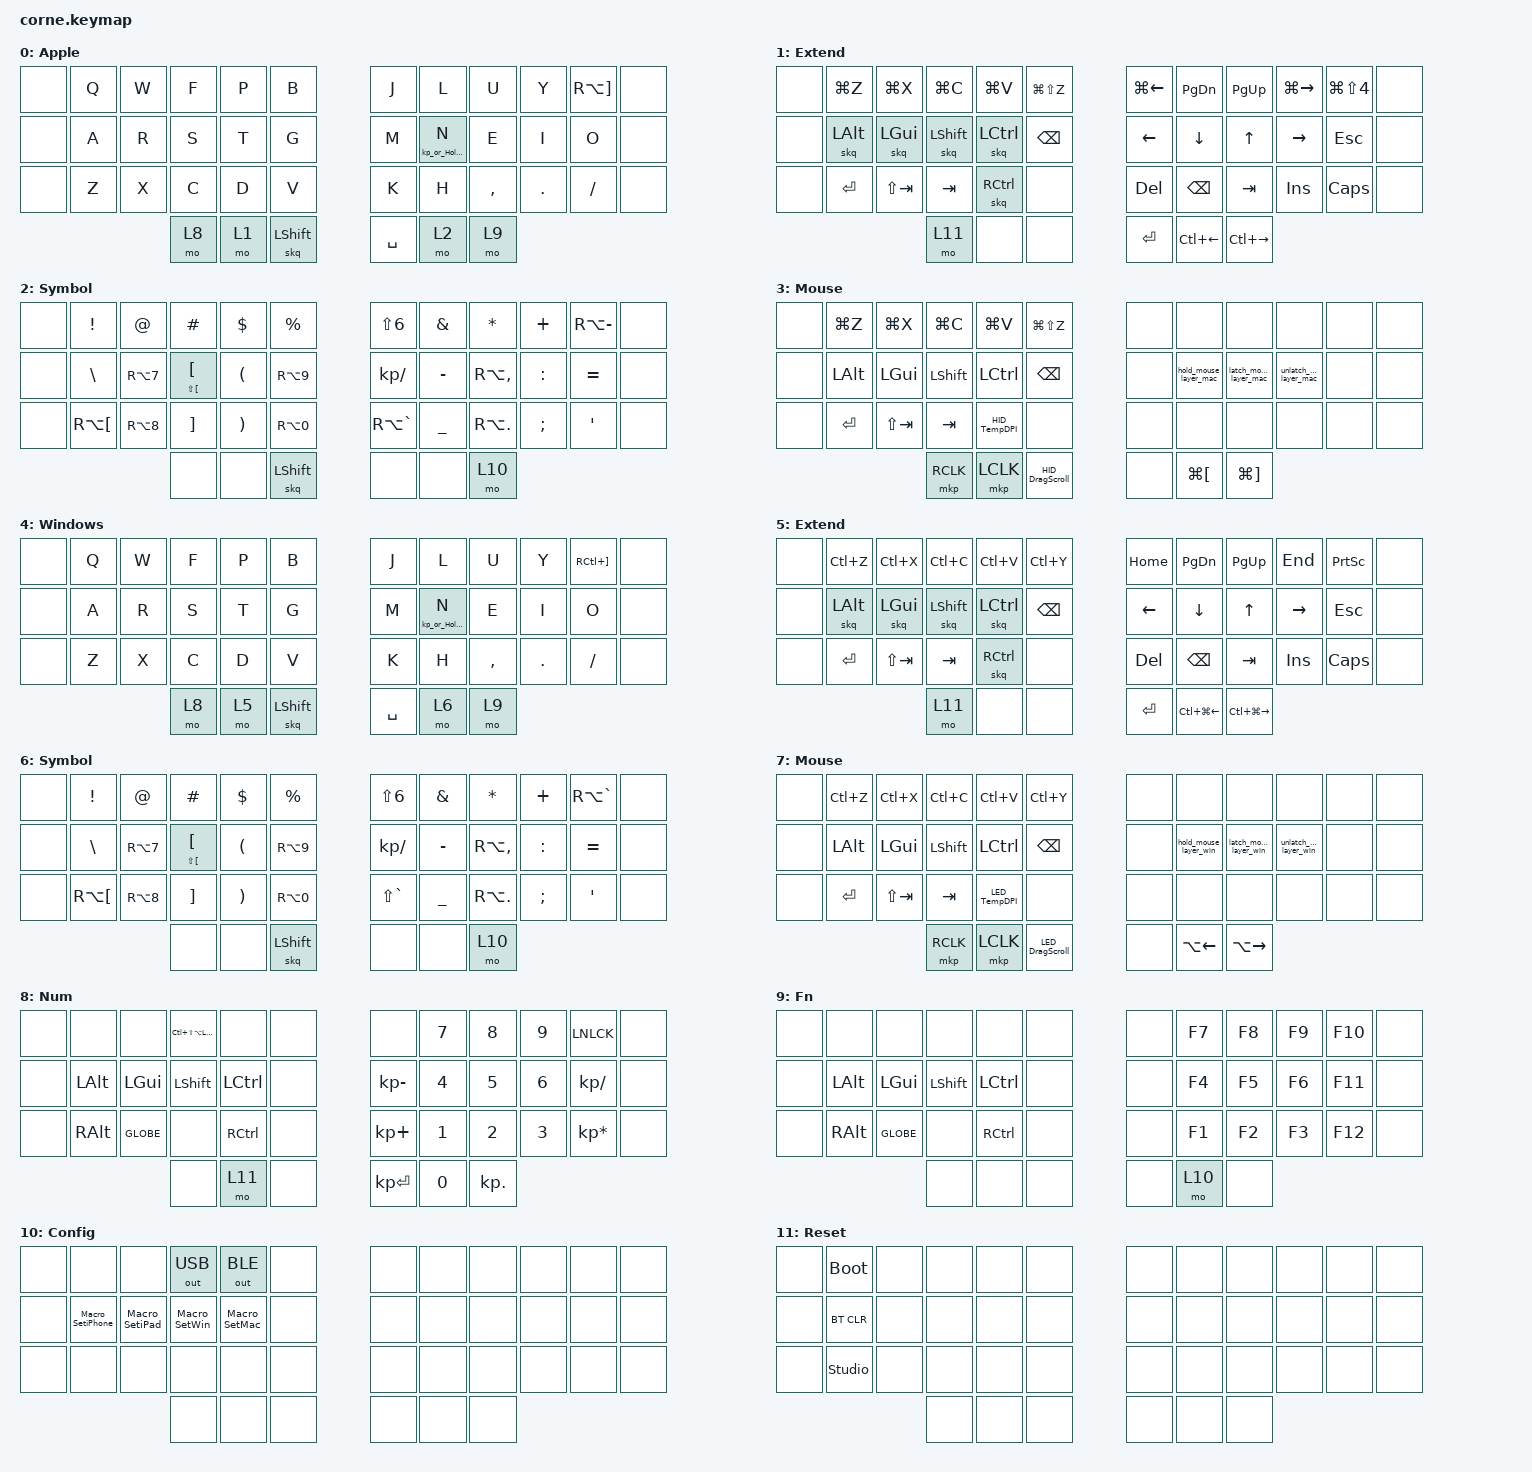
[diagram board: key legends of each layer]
#define ZMK_POINTING_DEFAULT_MOVE_VAL 1500
#define ZMK_POINTING_DEFAULT_SCRL_VAL 25

#include <behaviors.dtsi>
#include <dt-bindings/zmk/bt.h>
#include <dt-bindings/zmk/keys.h>
#include <dt-bindings/zmk/outputs.h>
#include <dt-bindings/zmk/pointing.h>

/ {
    behaviors {
        td: MyTapDance {
            compatible = "zmk,behavior-tap-dance";
            #binding-cells = <0>;
            tapping-term-ms = <200>;
            bindings = <&kp>, <&kp>;
        };

        th: MyTapHold {
            compatible = "zmk,behavior-hold-tap";
            #binding-cells = <2>;
            tapping-term-ms = <200>;
            flavor = "tap-preferred";
            bindings = <&kp>, <&kp>;
        };

        skq: MyStickyKeyQuickRelease {
            compatible = "zmk,behavior-sticky-key";
            #binding-cells = <1>;
            bindings = <&kp>;
            release-after-ms = <500>;
            quick-release;
            ignore-modifiers;
        };

        hold_mouse_layer_mac: HoldMouseLayerMac {
            compatible = "zmk,behavior-hold-mouse-layer";
            #binding-cells = <0>;
            mouse-layer = <3>;
        };

        hold_mouse_layer_win: HoldMouseLayerWin {
            compatible = "zmk,behavior-hold-mouse-layer";
            #binding-cells = <0>;
            mouse-layer = <7>;
        };

        latch_mouse_layer_mac: LatchMouseLayerMac {
            compatible = "zmk,behavior-latch-mouse-layer";
            #binding-cells = <0>;
            mouse-layer = <3>;
        };

        latch_mouse_layer_win: LatchMouseLayerWin {
            compatible = "zmk,behavior-latch-mouse-layer";
            #binding-cells = <0>;
            mouse-layer = <7>;
        };

        unlatch_mouse_layer_mac: UnlatchMouseLayerMac {
            compatible = "zmk,behavior-unlatch-mouse-layer";
            #binding-cells = <0>;
            mouse-layer = <3>;
            base-layer = <0>;
        };

        unlatch_mouse_layer_win: UnlatchMouseLayerWin {
            compatible = "zmk,behavior-unlatch-mouse-layer";
            #binding-cells = <0>;
            mouse-layer = <7>;
            base-layer = <4>;
        };

        kp_or_LatchMouseLayer_mac_inner: KpOrLatchMouseLayerMacInner {
            compatible = "zmk,behavior-hold-tap";
            #binding-cells = <2>;
            tapping-term-ms = <200>;
            flavor = "tap-preferred";
            bindings = <&latch_mouse_layer_mac>, <&kp>;
        };

        kp_or_LatchMouseLayer_win_inner: KpOrLatchMouseLayerWinInner {
            compatible = "zmk,behavior-hold-tap";
            #binding-cells = <2>;
            tapping-term-ms = <200>;
            flavor = "tap-preferred";
            bindings = <&latch_mouse_layer_win>, <&kp>;
        };

        kp_or_HoldMouseLayer_mac_inner: KpOrHoldMouseLayerMacInner {
            compatible = "zmk,behavior-hold-tap";
            #binding-cells = <2>;
            tapping-term-ms = <200>;
            flavor = "tap-preferred";
            bindings = <&hold_mouse_layer_mac>, <&kp>;
        };

        kp_or_HoldMouseLayer_win_inner: KpOrHoldMouseLayerWinInner {
            compatible = "zmk,behavior-hold-tap";
            #binding-cells = <2>;
            tapping-term-ms = <200>;
            flavor = "tap-preferred";
            bindings = <&hold_mouse_layer_win>, <&kp>;
        };

        kp_or_LatchMouseLayer_mac: KpOrLatchMouseLayerMac {
            compatible = "zmk,behavior-kp-or-latch-mouse-layer";
            #binding-cells = <1>;
            hold-tap-behavior = <&kp_or_LatchMouseLayer_mac_inner>;
        };

        kp_or_LatchMouseLayer_win: KpOrLatchMouseLayerWin {
            compatible = "zmk,behavior-kp-or-latch-mouse-layer";
            #binding-cells = <1>;
            hold-tap-behavior = <&kp_or_LatchMouseLayer_win_inner>;
        };

        kp_or_HoldMouseLayer_mac: KpOrHoldMouseLayerMac {
            compatible = "zmk,behavior-kp-or-hold-mouse-layer";
            #binding-cells = <1>;
            hold-tap-behavior = <&kp_or_HoldMouseLayer_mac_inner>;
        };

        kp_or_HoldMouseLayer_win: KpOrHoldMouseLayerWin {
            compatible = "zmk,behavior-kp-or-hold-mouse-layer";
            #binding-cells = <1>;
            hold-tap-behavior = <&kp_or_HoldMouseLayer_win_inner>;
        };

        auto_mouse_layer_config {
            compatible = "zmk,behavior-auto-mouse-layer";
            mac-base-layer = <0>;
            mac-mouse-layer = <3>;
            windows-base-layer = <4>;
            windows-mouse-layer = <7>;
        };

        HID_DragScroll: HID_DragScroll {
            compatible = "zmk,behavior-raw-drag-scroll";
            #binding-cells = <0>;
        };

        HID_TempDPI: HID_TempDPI {
            compatible = "zmk,behavior-raw-temporary-dpi";
            #binding-cells = <0>;
        };

        LED_TempDPI: LED_TempDPI {
            compatible = "zmk,behavior-raw-temporary-dpi";
            #binding-cells = <0>;
            windows-host;
        };
    };

    combos {
        compatible = "zmk,combos";

        Combo_Macro_M10 {
            bindings = <&Macro_M10>;
            key-positions = <1 25>;
            layers = <2 6>;
        };

        Combo_Macro_M11 {
            bindings = <&Macro_M11>;
            key-positions = <26 2>;
            layers = <2 6>;
        };

        Combo_Macro_M12 {
            bindings = <&Macro_M12>;
            key-positions = <33 9>;
            layers = <1 5>;
        };

        Combo_Macro_M13 {
            bindings = <&Macro_M13>;
            key-positions = <10 34>;
            layers = <1 5>;
        };

        Combo_BrightnessUp_Mac {
            bindings = <&kp LC(LS(LA(LG(F10))))>;
            key-positions = <6 18>;
            layers = <0>;
        };

        Combo_BrightnessDown_Mac {
            bindings = <&kp LC(LS(LA(LG(F11))))>;
            key-positions = <30 18>;
            layers = <0>;
        };

        Combo_BrightnessUp_Win {
            bindings = <&kp C_BRI_UP>;
            key-positions = <6 18>;
            layers = <4>;
        };

        Combo_BrightnessDown_Win {
            bindings = <&kp C_BRI_DN>;
            key-positions = <30 18>;
            layers = <4>;
        };

        Combo_VolumeUp {
            bindings = <&kp C_VOLUME_UP>;
            key-positions = <5 17>;
            layers = <0 4>;
        };

        Combo_VolumeDown {
            bindings = <&kp C_VOL_DN>;
            key-positions = <29 17>;
            layers = <0 4>;
        };
    };

    macros {
        // ------------------------------------------------------------- 
        // Macro for IDE (SSMS & VisualCoed)
        // ------------------------------------------------------------- 

        Macro_M00_Outline_CollapseAll: Macro_M00_Outline_CollapseAll {
            compatible = "zmk,behavior-macro";
            #binding-cells = <0>;
            bindings =
                <&macro_press>,
                <&kp LCTRL>,
                <&macro_tap>,
                <&kp M &kp A>,
                <&macro_release>,
                <&kp LCTRL>;
        };

        Macro_M01_Outline_ToggleCurrent: Macro_M01_Outline_ToggleCurrent {
            compatible = "zmk,behavior-macro";
            #binding-cells = <0>;
            bindings =
                <&macro_press>,
                <&kp LCTRL>,
                <&macro_tap>,
                <&kp M &kp M>,
                <&macro_release>,
                <&kp LCTRL>;
        };

        Macro_M02_Outline_ExpandAll: Macro_M02_Outline_ExpandAll {
            compatible = "zmk,behavior-macro";
            #binding-cells = <0>;
            bindings =
                <&macro_press>,
                <&kp LCTRL>,
                <&macro_tap>,
                <&kp M &kp L>,
                <&macro_release>,
                <&kp LCTRL>;
        };

        Macro_M03_Bookmark_Previous: Macro_M03_Bookmark_Previous {
            compatible = "zmk,behavior-macro";
            #binding-cells = <0>;
            bindings =
                <&macro_press>,
                <&kp LCTRL>,
                <&macro_tap>,
                <&kp K &kp P>,
                <&macro_release>,
                <&kp LCTRL>;
        };

        Macro_M04_Bookmark_Toggle: Macro_M04_Bookmark_Toggle {
            compatible = "zmk,behavior-macro";
            #binding-cells = <0>;
            bindings =
                <&macro_press>,
                <&kp LCTRL>,
                <&macro_tap>,
                <&kp K &kp K>,
                <&macro_release>,
                <&kp LCTRL>;
        };

        Macro_M05_Bookmark_ClearAll: Macro_M05_Bookmark_ClearAll {
            compatible = "zmk,behavior-macro";
            #binding-cells = <0>;
            bindings =
                <&macro_press>,
                <&kp LCTRL>,
                <&macro_tap>,
                <&kp K &kp L>,
                <&macro_release>,
                <&kp LCTRL>;
        };

        Macro_M06_Bookmark_Next: Macro_M06_Bookmark_Next {
            compatible = "zmk,behavior-macro";
            #binding-cells = <0>;
            bindings =
                <&macro_press>,
                <&kp LCTRL>,
                <&macro_tap>,
                <&kp K &kp N>,
                <&macro_release>,
                <&kp LCTRL>;
        };

        Macro_M07_Comment: Macro_M07_Comment {
            compatible = "zmk,behavior-macro";
            #binding-cells = <0>;
            bindings =
                <&macro_press>,
                <&kp LCTRL>,
                <&macro_tap>,
                <&kp K &kp C>,
                <&macro_release>,
                <&kp LCTRL>;
        };

        Macro_M08_UnComment: Macro_M08_UnComment {
            compatible = "zmk,behavior-macro";
            #binding-cells = <0>;
            bindings =
                <&macro_press>,
                <&kp LCTRL>,
                <&macro_tap>,
                <&kp K &kp U>,
                <&macro_release>,
                <&kp LCTRL>;
        };

        Macro_SetMac: Macro_SetMac {
            compatible = "zmk,behavior-macro";
            #binding-cells = <0>;
            wait-ms = <50>;
            bindings = <&bt BT_SEL 0 &to 0>;
        };

        Macro_SetWin: Macro_SetWin {
            compatible = "zmk,behavior-macro";
            #binding-cells = <0>;
            wait-ms = <50>;
            bindings = <&bt BT_SEL 1 &to 4>;
        };

        Macro_SetiPad: Macro_SetiPad {
            compatible = "zmk,behavior-macro";
            #binding-cells = <0>;
            wait-ms = <50>;
            bindings = <&bt BT_SEL 2 &to 0>;
        };

        Macro_SetiPhone: Macro_SetiPhone {
            compatible = "zmk,behavior-macro";
            #binding-cells = <0>;
            wait-ms = <50>;
            bindings = <&bt BT_SEL 3 &to 0>;
        };

        // ------------------------------------------------------------- 
        // Password for local stuff
        // ------------------------------------------------------------- 

        Macro_M10: Macro_M10 {
            compatible = "zmk,behavior-macro";
            #binding-cells = <0>;
            bindings = <&kp LS(K) &kp T &kp I &kp LS(A) &kp STAR &kp AMPS &kp N0 &kp E &kp N5 &kp N6 &kp U &kp UNDER &kp LS(H) &kp S &kp LS(D) &kp D &kp LS(D) &kp N5>;
        };

        Macro_M11: Macro_M11 {
            compatible = "zmk,behavior-macro";
            #binding-cells = <0>;
            bindings = <&kp AMPS &kp N9 &kp LS(P) &kp N0 &kp LS(S) &kp UNDER &kp N1 &kp E &kp U &kp LS(W) &kp COMMA &kp L &kp R &kp LS(U) &kp MINUS &kp UNDER &kp LS(N) &kp E>;
        };

        Macro_M12: Macro_M12 {
            compatible = "zmk,behavior-macro";
            #binding-cells = <0>;
            bindings = <&kp LS(N) &kp N &kp N5 &kp MINUS &kp E &kp A &kp N7 &kp POUND &kp MINUS &kp N8 &kp F &kp N &kp POUND &kp MINUS &kp N4 &kp I &kp DLLR &kp POUND>;
        };

        Macro_M13: Macro_M13 {
            compatible = "zmk,behavior-macro";
            #binding-cells = <0>;
            bindings = <&kp LS(J) &kp N5 &kp LS(R) &kp UNDER &kp N3 &kp LS(T) &kp N5 &kp UNDER &kp N5 &kp N1 &kp N4 &kp N6 &kp N3 &kp N2 &kp N2 &kp N8 &kp N1 &kp N5>;
        };

        // ------------------------------------------------------------- 
        // Mouse
        // ------------------------------------------------------------- 

        LCLKx2: LCLKx2 {
            compatible = "zmk,behavior-macro";
            #binding-cells = <0>;
            bindings = <&mkp LCLK &mkp LCLK>;
        };

        LED_DragScroll: LED_DragScroll {
            compatible = "zmk,behavior-macro";
            #binding-cells = <0>;
            wait-ms = <0>;
            bindings =
                <&macro_tap>,
                <&kp SLCK>,
                <&macro_pause_for_release>,
                <&macro_tap>,
                <&kp SLCK>;
        };

    };

    /*
        Symbol      Mac — ZMK                    Mac — QMK
        -------     ----------------------       ----------------------
        ~           &kp RA(RBKT)        RALT(KC_RBRC)
        /           &kp KP_DIVIDE                KC_KP_SLASH
        \           &kp RA(GRAVE)                RALT(KC_GRV)
        |           &kp RA(MINUS)                RALT(KC_MINS)


        Symbol      Win — ZMK                    Win — QMK
        -------     ----------------------       ----------------------
        ~           &kp RC(RBKT)        RCTL(KC_RBRC)
        /           &kp KP_DIVIDE                KC_KP_SLASH
        \           &kp LS(GRAVE)                LSFT(KC_GRV)
        |           &kp RA(GRAVE)                RALT(KC_GRV)
    */

    keymap {
        compatible = "zmk,keymap";

        Mac_Base_Layout_0 {
            label = "Apple";
            bindings = <
&none  &kp Q  &kp W  &kp F  &kp P  &kp B         &kp J      &kp L                       &kp U      &kp Y    &kp RA(RBKT)  &none
&none  &kp A  &kp R  &kp S  &kp T  &kp G         &kp M      &kp_or_HoldMouseLayer_mac N &kp E      &kp I    &kp O         &none
&none  &kp Z  &kp X  &kp C  &kp D  &kp V         &kp K      &kp H                       &kp COMMA  &kp DOT  &kp FSLH      &none
                     &mo 8  &mo 1  &skq LSHFT    &kp SPACE  &mo 2                       &mo 9
            >;
        };

        Mac_Extend_Layout_1 {
            label = "Extend";
            bindings = <
&none  &kp LG(Z)  &kp LG(X)    &kp LG(C)    &kp LG(V)   &kp LG(LS(Z))    &kp LG(LEFT)  &kp PG_DN     &kp PG_UP      &kp LG(RIGHT)  &kp LG(LS(N4))  &none
&none  &skq LALT  &skq LGUI    &skq LSHIFT  &skq LCTRL  &kp BSPC         &kp LEFT      &kp DOWN      &kp UP         &kp RIGHT      &kp ESC         &none
&none  &kp RET    &kp LS(TAB)  &kp TAB      &skq RCTRL  &none            &kp DEL       &kp BSPC      &kp TAB        &kp INS        &kp CAPS        &none
                               &mo 11       &none       &none            &kp RET       &kp LC(LEFT)  &kp LC(RIGHT)
            >;
        };

        Mac_Symbol_Layout_2 {
            label = "Symbol";
            bindings = <
&none  &kp EXCL      &kp AT      &kp HASH           &kp DOLLAR  &kp PRCNT      &kp LS(N6)     &kp AMPS   &kp ASTRK      &kp PLUS   &kp RA(MINUS)  &none
&none  &kp BSLH      &kp RA(N7)  &th LS(LBKT) LBKT  &kp LPAR    &kp RA(N9)     &kp KP_DIVIDE  &kp MINUS  &kp RA(COMMA)  &kp COLON  &kp EQUAL      &none
&none  &kp RA(LBKT)  &kp RA(N8)  &kp RBKT           &kp RPAR    &kp RA(N0)     &kp RA(GRAVE)  &kp UNDER  &kp RA(DOT)    &kp SEMI   &kp APOS       &none
                                 &none              &none       &skq LSHIFT    &none          &none      &mo 10
            >;
        };

        Mac_Mouse_Layout_3 {
            label = "Mouse";
            bindings = <
&none  &kp LG(Z)  &kp LG(X)    &kp LG(C)   &kp LG(V)     &kp LG(LS(Z))      &none  &none                  &none                   &none                     &none  &none
&none  &kp LALT   &kp LGUI     &kp LSHIFT  &kp LCTRL     &kp BSPC           &none  &hold_mouse_layer_mac  &latch_mouse_layer_mac  &unlatch_mouse_layer_mac  &none  &none
&none  &kp RET    &kp LS(TAB)  &kp TAB     &HID_TempDPI  &none              &none  &none                  &none                   &none                     &none  &none
                               &mkp RCLK   &mkp LCLK     &HID_DragScroll    &none  &kp LG(LBKT)           &kp LG(RBKT)
            >;
        };

        Win_Base_Layout_4 {
            label = "Windows";
            bindings = <
&none  &kp Q  &kp W  &kp F  &kp P  &kp B         &kp J      &kp L                       &kp U      &kp Y    &kp RC(RBKT)  &none
&none  &kp A  &kp R  &kp S  &kp T  &kp G         &kp M      &kp_or_HoldMouseLayer_win N &kp E      &kp I    &kp O         &none
&none  &kp Z  &kp X  &kp C  &kp D  &kp V         &kp K      &kp H                       &kp COMMA  &kp DOT  &kp FSLH      &none
                     &mo 8  &mo 5  &skq LSHFT    &kp SPACE  &mo 6                       &mo 9
            >;
        };

        Win_Extend_Layout_5 {
            label = "Extend";
            bindings = <
&none  &kp LC(Z)  &kp LC(X)    &kp LC(C)    &kp LC(V)   &kp LC(Y)    &kp HOME  &kp PG_DN         &kp PG_UP          &kp END    &kp PRINTSCREEN  &none
&none  &skq LALT  &skq LGUI    &skq LSHIFT  &skq LCTRL  &kp BSPC     &kp LEFT  &kp DOWN          &kp UP             &kp RIGHT  &kp ESC          &none
&none  &kp RET    &kp LS(TAB)  &kp TAB      &skq RCTRL  &none        &kp DEL   &kp BSPC          &kp TAB            &kp INS    &kp CAPS         &none
                               &mo 11       &none       &none        &kp RET   &kp LC(LG(LEFT))  &kp LC(LG(RIGHT))
            >;
        };

        Win_Symbol_Layout_6 {
            label = "Symbol";
            bindings = <
&none  &kp EXCL      &kp AT      &kp HASH           &kp DOLLAR  &kp PRCNT      &kp LS(N6)     &kp AMPS   &kp ASTRK      &kp PLUS   &kp RA(GRAVE)  &none
&none  &kp BSLH      &kp RA(N7)  &th LS(LBKT) LBKT  &kp LPAR    &kp RA(N9)     &kp KP_DIVIDE  &kp MINUS  &kp RA(COMMA)  &kp COLON  &kp EQUAL      &none
&none  &kp RA(LBKT)  &kp RA(N8)  &kp RBKT           &kp RPAR    &kp RA(N0)     &kp LS(GRAVE)  &kp UNDER  &kp RA(DOT)    &kp SEMI   &kp APOS       &none
                                 &none              &none       &skq LSHIFT    &none          &none      &mo 10
            >;
        };

        Win_Mouse_Layout_7 {
            label = "Mouse";
            bindings = <
&none  &kp LC(Z)  &kp LC(X)    &kp LC(C)   &kp LC(V)     &kp LC(Y)          &none  &none                  &none                   &none                     &none  &none
&none  &kp LALT   &kp LGUI     &kp LSHIFT  &kp LCTRL     &kp BSPC           &none  &hold_mouse_layer_win  &latch_mouse_layer_win  &unlatch_mouse_layer_win  &none  &none
&none  &kp RET    &kp LS(TAB)  &kp TAB     &LED_TempDPI  &none              &none  &none                  &none                   &none                     &none  &none
                               &mkp RCLK   &mkp LCLK     &LED_DragScroll    &none  &kp LA(LEFT)           &kp LA(RIGHT)
            >;
        };

        Num_Layout_8 {
            label = "Num";
            bindings = <
&none  &none     &none      &kp LC(LS(LA(LEFT_GUI)))  &none      &none    &none         &kp N7  &kp N8      &kp N9  &kp LNLCK        &none
&none  &kp LALT  &kp LGUI   &kp LSHIFT                &kp LCTRL  &none    &kp KP_MINUS  &kp N4  &kp N5      &kp N6  &kp KP_DIVIDE    &none
&none  &kp RALT  &kp GLOBE  &none                     &kp RCTRL  &none    &kp KP_PLUS   &kp N1  &kp N2      &kp N3  &kp KP_MULTIPLY  &none
                            &none                     &mo 11     &none    &kp KP_ENTER  &kp N0  &kp KP_DOT
            >;
        };

        Fn_Layout_9 {
            label = "Fn";
            bindings = <
&none  &none     &none      &none       &none      &none    &none  &kp F7  &kp F8  &kp F9  &kp F10  &none
&none  &kp LALT  &kp LGUI   &kp LSHIFT  &kp LCTRL  &none    &none  &kp F4  &kp F5  &kp F6  &kp F11  &none
&none  &kp RALT  &kp GLOBE  &none       &kp RCTRL  &none    &none  &kp F1  &kp F2  &kp F3  &kp F12  &none
                            &none       &none      &none    &none  &mo 10  &none
            >;
        };

        Config_Layout_10 {
            label = "Config";
            bindings = <
&none  &none             &none           &out OUT_USB   &out OUT_BLE   &none    &none  &none  &none  &none  &none  &none
&none  &Macro_SetiPhone  &Macro_SetiPad  &Macro_SetWin  &Macro_SetMac  &none    &none  &none  &none  &none  &none  &none
&none  &none             &none           &none          &none          &none    &none  &none  &none  &none  &none  &none
                                         &none          &none          &none    &none  &none  &none
            >;
        };

        Reset_Layout_11 {
            label = "Reset";
            bindings = <
&none  &bootloader     &none  &none  &none  &none    &none  &none  &none  &none  &none  &none
&none  &bt BT_CLR      &none  &none  &none  &none    &none  &none  &none  &none  &none  &none
&none  &studio_unlock  &none  &none  &none  &none    &none  &none  &none  &none  &none  &none
                              &none  &none  &none    &none  &none  &none
            >;
        };
    };
};
